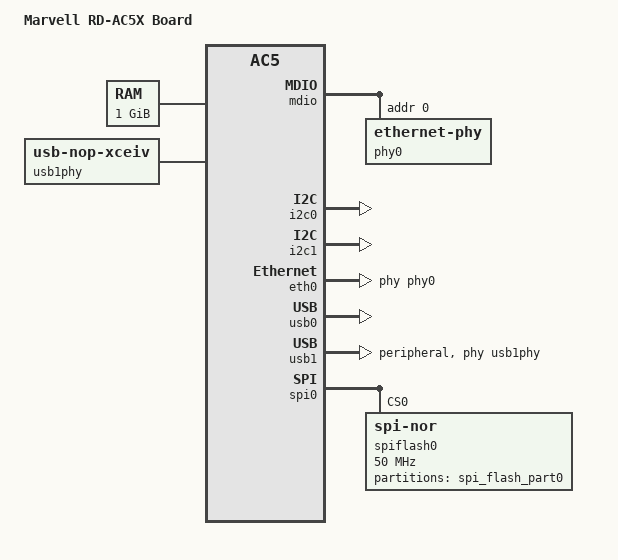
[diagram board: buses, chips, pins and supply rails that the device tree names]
// SPDX-License-Identifier: (GPL-2.0+ OR MIT)
/*
 * Device Tree For RD-AC5X.
 *
 * Copyright (C) 2021 Marvell
 * Copyright (C) 2022 Allied Telesis Labs
 */
/*
 * Device Tree file for Marvell Alleycat 5X development board
 * This board file supports the B configuration of the board
 */

/dts-v1/;

#include "ac5-98dx35xx.dtsi"

/ {
	model = "Marvell RD-AC5X Board";
	compatible = "marvell,rd-ac5x", "marvell,ac5x", "marvell,ac5";

	aliases {
		serial0 = &uart0;
		spiflash0 = &spiflash0;
		gpio0 = &gpio0;
		gpio1 = &gpio1;
		ethernet0 = &eth0;
		ethernet1 = &eth1;
	};

	memory@0 {
		device_type = "memory";
		reg = <0x2 0x00000000 0x0 0x40000000>;
	};

	usb1phy: usb-phy {
		compatible = "usb-nop-xceiv";
		#phy-cells = <0>;
	};
};

&mdio {
	phy0: ethernet-phy@0 {
		reg = <0>;
	};
};

&i2c0 {
	status = "okay";
};

&i2c1 {
	status = "okay";
};

&eth0 {
	status = "okay";
	phy-handle = <&phy0>;
};

/* USB0 is a host USB */
&usb0 {
	status = "okay";
};

/* USB1 is a peripheral USB */
&usb1 {
	status = "okay";
	phys = <&usb1phy>;
	phy-names = "usb-phy";
	dr_mode = "peripheral";
};

&spi0 {
	status = "okay";

	spiflash0: flash@0 {
		compatible = "jedec,spi-nor";
		spi-max-frequency = <50000000>;
		spi-tx-bus-width = <1>; /* 1-single, 2-dual, 4-quad */
		spi-rx-bus-width = <1>; /* 1-single, 2-dual, 4-quad */
		reg = <0>;

		#address-cells = <1>;
		#size-cells = <1>;

		partition@0 {
			label = "spi_flash_part0";
			reg = <0x0 0x800000>;
		};

		parition@1 {
			label = "spi_flash_part1";
			reg = <0x800000 0x700000>;
		};

		parition@2 {
			label = "spi_flash_part2";
			reg = <0xF00000 0x100000>;
		};
	};
};
